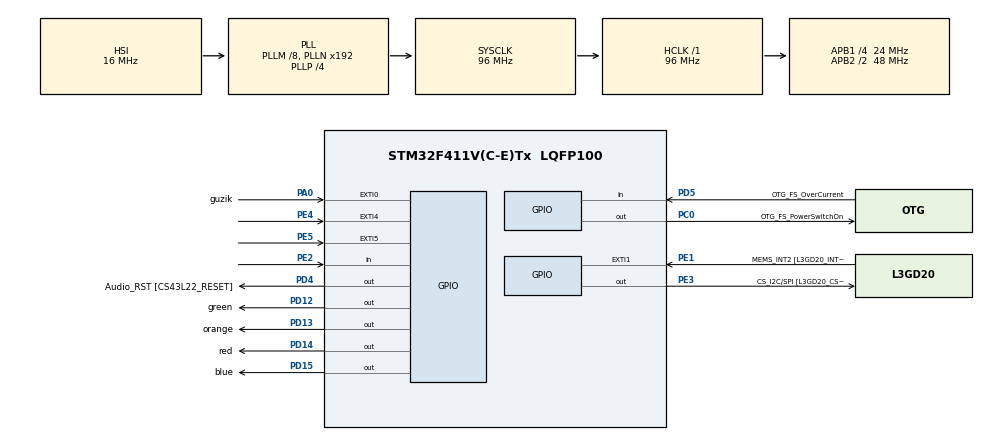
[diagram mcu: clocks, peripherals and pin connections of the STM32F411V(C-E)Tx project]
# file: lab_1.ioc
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Mcu.Family=STM32F4
Mcu.Name=STM32F411V(C-E)Tx
Mcu.Package=LQFP100
NVIC.EXTI0_IRQn=true\:0\:0\:false\:false\:true\:true\:true\:true
NVIC.PriorityGroup=NVIC_PRIORITYGROUP_0
PA0-WKUP.GPIO_Label=guzik
PA0-WKUP.Signal=GPXTI0
PA10.GPIO_Label=OTG_FS_ID
PA10.Signal=USB_OTG_FS_ID
PA11.GPIO_Label=OTG_FS_DM
PA11.Signal=USB_OTG_FS_DM
PA12.GPIO_Label=OTG_FS_DP
PA12.Signal=USB_OTG_FS_DP
PA13.GPIO_Label=SWDIO
PA13.Signal=SYS_JTMS-SWDIO
PA14.GPIO_Label=SWCLK
PA14.Signal=SYS_JTCK-SWCLK
PA4.GPIO_Label=I2S3_WS [CS43L22_LRCK]
PA4.GPIO_Mode=GPIO_MODE_AF_PP
PA4.GPIO_PuPd=GPIO_NOPULL
PA4.GPIO_Speed=GPIO_SPEED_FREQ_LOW
PA4.Signal=I2S3_WS
PA5.GPIO_Label=SPI1_SCK [L3GD20_SC/SPC]
PA5.Signal=SPI1_SCK
PA6.GPIO_Label=SPI1_MISO [L3GD20_AS0/SDO]
PA6.Signal=SPI1_MISO
PA7.GPIO_Label=SPI1_MOSI [L3GD20_SDA/SDI/SDO]
PA7.Signal=SPI1_MOSI
PA9.GPIO_Label=VBUS_FS
PA9.Signal=USB_OTG_FS_VBUS
PB10.GPIO_Label=CLK_IN [MP45DT02_CLK]
PB10.Signal=I2S2_CK
PB12.Signal=I2S2_WS
PB3.GPIO_Label=SWO
PB3.Signal=SYS_JTDO-SWO
PB6.GPIO_Label=Audio_SCL [CS43L22_SCL]
PB6.GPIO_Mode=GPIO_MODE_AF_OD
PB6.GPIO_PuPd=GPIO_NOPULL
PB6.GPIO_Speed=GPIO_SPEED_FREQ_LOW
PB6.Signal=I2C1_SCL
PB9.GPIO_Label=Audio_SDA [CS43L22_SDA]
PB9.GPIO_Mode=GPIO_MODE_AF_OD
PB9.GPIO_PuPd=GPIO_NOPULL
PB9.GPIO_Speed=GPIO_SPEED_FREQ_LOW
PB9.Signal=I2C1_SDA
PC0.GPIO_Label=OTG_FS_PowerSwitchOn
PC0.PinState=GPIO_PIN_SET
PC0.Signal=GPIO_Output
PC10.GPIO_Label=I2S3_SCK [CS43L22_SCLK]
PC10.GPIO_Mode=GPIO_MODE_AF_PP
PC10.GPIO_PuPd=GPIO_NOPULL
PC10.GPIO_Speed=GPIO_SPEED_FREQ_LOW
PC10.Signal=I2S3_CK
PC12.GPIO_Label=I2S3_SD [CS43L22_SDIN]
PC12.GPIO_Mode=GPIO_MODE_AF_PP
PC12.GPIO_PuPd=GPIO_NOPULL
PC12.GPIO_Speed=GPIO_SPEED_FREQ_LOW
PC12.Signal=I2S3_SD
PC14-OSC32_IN.GPIO_Label=PC14-OSC32_IN
PC14-OSC32_IN.Signal=RCC_OSC32_IN
PC15-OSC32_OUT.GPIO_Label=PC15-OSC32_OUT
PC15-OSC32_OUT.Signal=RCC_OSC32_OUT
PC3.GPIO_Label=PDM_OUT [MP45DT02_DOUT]
PC3.Signal=I2S2_SD
PC7.GPIO_Label=I2S3_MCK [CS43L22_MCLK]
PC7.GPIO_Mode=GPIO_MODE_AF_PP
PC7.GPIO_PuPd=GPIO_NOPULL
PC7.GPIO_Speed=GPIO_SPEED_FREQ_LOW
PC7.Signal=I2S3_MCK
PD12.GPIO_Label=green
PD12.GPIO_PuPd=GPIO_NOPULL
PD12.GPIO_Speed=GPIO_SPEED_FREQ_LOW
PD12.Signal=GPIO_Output
PD13.GPIO_Label=orange
PD13.GPIO_PuPd=GPIO_NOPULL
PD13.GPIO_Speed=GPIO_SPEED_FREQ_LOW
PD13.Signal=GPIO_Output
PD14.GPIO_Label=red
PD14.GPIO_PuPd=GPIO_NOPULL
PD14.GPIO_Speed=GPIO_SPEED_FREQ_LOW
PD14.Signal=GPIO_Output
PD15.GPIO_Label=blue
PD15.Signal=GPIO_Output
PD4.GPIO_Label=Audio_RST [CS43L22_RESET]
PD4.Signal=GPIO_Output
PD5.GPIO_Label=OTG_FS_OverCurrent
PD5.Signal=GPIO_Input
PE1.GPIO_Label=MEMS_INT2 [L3GD20_INT2]
PE1.GPIO_ModeDefaultEXTI=GPIO_MODE_EVT_RISING
PE1.Signal=GPXTI1
PE2.Signal=GPIO_Input
PE3.GPIO_Label=CS_I2C/SPI [L3GD20_CS_I2C/SPI]
PE3.Signal=GPIO_Output
PE4.GPIO_ModeDefaultEXTI=GPIO_MODE_EVT_RISING
PE4.Signal=GPXTI4
PE5.GPIO_ModeDefaultEXTI=GPIO_MODE_EVT_RISING
PE5.Signal=GPXTI5
PH0\ -\ OSC_IN.GPIO_Label=PH0-OSC_IN
PH0\ -\ OSC_IN.Signal=RCC_OSC_IN
PH1\ -\ OSC_OUT.GPIO_Label=PH1-OSC_OUT
PH1\ -\ OSC_OUT.Signal=RCC_OSC_OUT
ProjectManager.HeapSize=0x200
ProjectManager.StackSize=0x400
ProjectManager.TargetToolchain=STM32CubeIDE
RCC.48MHZClocksFreq_Value=48000000
RCC.AHBFreq_Value=96000000
RCC.APB1CLKDivider=RCC_HCLK_DIV4
RCC.APB1Freq_Value=24000000
RCC.APB1TimFreq_Value=48000000
RCC.APB2CLKDivider=RCC_HCLK_DIV2
RCC.APB2Freq_Value=48000000
RCC.APB2TimFreq_Value=96000000
RCC.CortexFreq_Value=96000000
RCC.HCLKFreq_Value=96000000
RCC.HSE_VALUE=8000000
RCC.HSI_VALUE=16000000
RCC.LSE_VALUE=32768
RCC.PLLI2SM=5
RCC.PLLI2SN=200
RCC.PLLM=8
RCC.PLLP=RCC_PLLP_DIV4
RCC.PLLQ=8
RCC.SYSCLKFreq_VALUE=96000000
RCC.SYSCLKSource=RCC_SYSCLKSOURCE_PLLCLK
RCC.VCOOutputFreq_Value=384000000
board=STM32F411E-DISCO

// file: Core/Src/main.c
/* USER CODE BEGIN Header */
/**
  ******************************************************************************
  * @file           : main.c
  * @brief          : Main program body
  ******************************************************************************
  * @attention
  *
  * Copyright (c) 2023 STMicroelectronics.
  * All rights reserved.
  *
  * This software is licensed under terms that can be found in the LICENSE file
  * in the root directory of this software component.
  * If no LICENSE file comes with this software, it is provided AS-IS.
  *
  ******************************************************************************
  */
/* USER CODE END Header */
#include "main.h"

void SystemClock_Config(void);
static void MX_GPIO_Init(void);

/* USER CODE BEGIN 0 */
extern void initialise_monitor_handles(void);
int count = 0;
/* USER CODE END 0 */

int main(void)
{

  /* MCU Configuration--------------------------------------------------------*/

  /* Reset of all peripherals, Initializes the Flash interface and the Systick. */
  HAL_Init();

  /* Configure the system clock */
  SystemClock_Config();

  /* Initialize all configured peripherals */
  MX_GPIO_Init();
  /* USER CODE BEGIN 2 */
  	  initialise_monitor_handles();

  	GPIO_TypeDef* ledy_port[] = {blue_GPIO_Port,red_GPIO_Port,orange_GPIO_Port,green_GPIO_Port};
  	uint16_t ledy_pin[] = {blue_Pin,red_Pin,orange_Pin,green_Pin};
  /* USER CODE END 2 */

  /* Infinite loop */
  while (1)
  {

    /* USER CODE BEGIN 3 */

	  switch(count){
	  	  case 0:
	  		  for(int i=0; i<4; i++){
	  			  HAL_GPIO_WritePin(ledy_port[i], ledy_pin[i], GPIO_PIN_RESET);
	  		  }
	  		  break;
	  	  case 1:
	  		HAL_GPIO_WritePin(ledy_port[0], ledy_pin[0], GPIO_PIN_SET);
	  		break;
	  	  case 2:
	  		HAL_GPIO_WritePin(ledy_port[0], ledy_pin[0], GPIO_PIN_RESET);
	  		HAL_GPIO_WritePin(ledy_port[1], ledy_pin[1], GPIO_PIN_SET);
	  		break;
	  	  case 3:
	  		HAL_GPIO_WritePin(ledy_port[0], ledy_pin[0], GPIO_PIN_SET);
	  		break;
	  	  case 4:
	  		HAL_GPIO_WritePin(ledy_port[0], ledy_pin[0], GPIO_PIN_RESET);
	  		HAL_GPIO_WritePin(ledy_port[1], ledy_pin[1], GPIO_PIN_RESET);
	  		HAL_GPIO_WritePin(ledy_port[2], ledy_pin[2], GPIO_PIN_SET);
	  		break;
	  	case 5:
	  		HAL_GPIO_WritePin(ledy_port[0], ledy_pin[0], GPIO_PIN_SET);
	  		HAL_GPIO_WritePin(ledy_port[2], ledy_pin[2], GPIO_PIN_SET);
	  		break;
	  	case 6:
	  		HAL_GPIO_WritePin(ledy_port[0], ledy_pin[0], GPIO_PIN_RESET);
	  		HAL_GPIO_WritePin(ledy_port[1], ledy_pin[1], GPIO_PIN_SET);
	  		break;
	  	case 7:
	  		HAL_GPIO_WritePin(ledy_port[0], ledy_pin[0], GPIO_PIN_SET);
	  		break;
	  	case 8:
	  		HAL_GPIO_WritePin(ledy_port[0], ledy_pin[0], GPIO_PIN_RESET);
	  		HAL_GPIO_WritePin(ledy_port[1], ledy_pin[1], GPIO_PIN_RESET);
	  		HAL_GPIO_WritePin(ledy_port[2], ledy_pin[2], GPIO_PIN_RESET);
	  		HAL_GPIO_WritePin(ledy_port[3], ledy_pin[3], GPIO_PIN_SET);
	  		break;
	  	case 9:
	  		HAL_GPIO_WritePin(ledy_port[0], ledy_pin[0], GPIO_PIN_SET);
	  		break;
	  	case 10:
	  		HAL_GPIO_WritePin(ledy_port[0], ledy_pin[0], GPIO_PIN_RESET);
	  		HAL_GPIO_WritePin(ledy_port[1], ledy_pin[1], GPIO_PIN_SET);
	  		break;
	  	case 11:
	  		HAL_GPIO_WritePin(ledy_port[0], ledy_pin[0], GPIO_PIN_SET);
	  		break;
	  	case 12:
	  		HAL_GPIO_WritePin(ledy_port[0], ledy_pin[0], GPIO_PIN_RESET);
	  		HAL_GPIO_WritePin(ledy_port[1], ledy_pin[1], GPIO_PIN_RESET);
	  		HAL_GPIO_WritePin(ledy_port[2], ledy_pin[2], GPIO_PIN_SET);
	  		break;
	  	case 13:
	  		HAL_GPIO_WritePin(ledy_port[0], ledy_pin[0], GPIO_PIN_SET);
	  		break;
	  	case 14:
	  		HAL_GPIO_WritePin(ledy_port[0], ledy_pin[0], GPIO_PIN_RESET);
	  		HAL_GPIO_WritePin(ledy_port[1], ledy_pin[1], GPIO_PIN_SET);
	  		break;
	  	case 15:
	  		HAL_GPIO_WritePin(ledy_port[0], ledy_pin[0], GPIO_PIN_SET);
	  		break;
	  }

	  HAL_Delay(1000);
	  //zad3
	  printf("test: %d\n",count);
	  count++;
	  if(count > 15){
		  count = 0;
	  }
  }
  /* USER CODE END 3 */
}

void SystemClock_Config(void)
{
  RCC_OscInitTypeDef RCC_OscInitStruct = {0};
  RCC_ClkInitTypeDef RCC_ClkInitStruct = {0};

  /** Configure the main internal regulator output voltage
  */
  __HAL_RCC_PWR_CLK_ENABLE();
  __HAL_PWR_VOLTAGESCALING_CONFIG(PWR_REGULATOR_VOLTAGE_SCALE1);

  /** Initializes the RCC Oscillators according to the specified parameters
  * in the RCC_OscInitTypeDef structure.
  */
  RCC_OscInitStruct.OscillatorType = RCC_OSCILLATORTYPE_HSI;
  RCC_OscInitStruct.HSIState = RCC_HSI_ON;
  RCC_OscInitStruct.HSICalibrationValue = RCC_HSICALIBRATION_DEFAULT;
  RCC_OscInitStruct.PLL.PLLState = RCC_PLL_ON;
  RCC_OscInitStruct.PLL.PLLSource = RCC_PLLSOURCE_HSI;
  RCC_OscInitStruct.PLL.PLLM = 8;
  RCC_OscInitStruct.PLL.PLLN = 192;
  RCC_OscInitStruct.PLL.PLLP = RCC_PLLP_DIV4;
  RCC_OscInitStruct.PLL.PLLQ = 8;
  if (HAL_RCC_OscConfig(&RCC_OscInitStruct) != HAL_OK)
  {
    Error_Handler();
  }

  /** Initializes the CPU, AHB and APB buses clocks
  */
  RCC_ClkInitStruct.ClockType = RCC_CLOCKTYPE_HCLK|RCC_CLOCKTYPE_SYSCLK
                              |RCC_CLOCKTYPE_PCLK1|RCC_CLOCKTYPE_PCLK2;
  RCC_ClkInitStruct.SYSCLKSource = RCC_SYSCLKSOURCE_PLLCLK;
  RCC_ClkInitStruct.AHBCLKDivider = RCC_SYSCLK_DIV1;
  RCC_ClkInitStruct.APB1CLKDivider = RCC_HCLK_DIV4;
  RCC_ClkInitStruct.APB2CLKDivider = RCC_HCLK_DIV2;

  if (HAL_RCC_ClockConfig(&RCC_ClkInitStruct, FLASH_LATENCY_3) != HAL_OK)
  {
    Error_Handler();
  }
}

static void MX_GPIO_Init(void)
{
  GPIO_InitTypeDef GPIO_InitStruct = {0};

  /* GPIO Ports Clock Enable */
  __HAL_RCC_GPIOE_CLK_ENABLE();
  __HAL_RCC_GPIOC_CLK_ENABLE();
  __HAL_RCC_GPIOH_CLK_ENABLE();
  __HAL_RCC_GPIOA_CLK_ENABLE();
  __HAL_RCC_GPIOB_CLK_ENABLE();
  __HAL_RCC_GPIOD_CLK_ENABLE();

  /*Configure GPIO pin Output Level */
  HAL_GPIO_WritePin(CS_I2C_SPI_GPIO_Port, CS_I2C_SPI_Pin, GPIO_PIN_RESET);

  /*Configure GPIO pin Output Level */
  HAL_GPIO_WritePin(OTG_FS_PowerSwitchOn_GPIO_Port, OTG_FS_PowerSwitchOn_Pin, GPIO_PIN_SET);

  /*Configure GPIO pin Output Level */
  HAL_GPIO_WritePin(GPIOD, green_Pin|orange_Pin|red_Pin|blue_Pin
                          |Audio_RST_Pin, GPIO_PIN_RESET);

  /*Configure GPIO pin : PE2 */
  GPIO_InitStruct.Pin = GPIO_PIN_2;
  GPIO_InitStruct.Mode = GPIO_MODE_INPUT;
  GPIO_InitStruct.Pull = GPIO_NOPULL;
  HAL_GPIO_Init(GPIOE, &GPIO_InitStruct);

  /*Configure GPIO pin : CS_I2C_SPI_Pin */
  GPIO_InitStruct.Pin = CS_I2C_SPI_Pin;
  GPIO_InitStruct.Mode = GPIO_MODE_OUTPUT_PP;
  GPIO_InitStruct.Pull = GPIO_NOPULL;
  GPIO_InitStruct.Speed = GPIO_SPEED_FREQ_LOW;
  HAL_GPIO_Init(CS_I2C_SPI_GPIO_Port, &GPIO_InitStruct);

  /*Configure GPIO pins : PE4 PE5 MEMS_INT2_Pin */
  GPIO_InitStruct.Pin = GPIO_PIN_4|GPIO_PIN_5|MEMS_INT2_Pin;
  GPIO_InitStruct.Mode = GPIO_MODE_EVT_RISING;
  GPIO_InitStruct.Pull = GPIO_NOPULL;
  HAL_GPIO_Init(GPIOE, &GPIO_InitStruct);

  /*Configure GPIO pin : OTG_FS_PowerSwitchOn_Pin */
  GPIO_InitStruct.Pin = OTG_FS_PowerSwitchOn_Pin;
  GPIO_InitStruct.Mode = GPIO_MODE_OUTPUT_PP;
  GPIO_InitStruct.Pull = GPIO_NOPULL;
  GPIO_InitStruct.Speed = GPIO_SPEED_FREQ_LOW;
  HAL_GPIO_Init(OTG_FS_PowerSwitchOn_GPIO_Port, &GPIO_InitStruct);

  /*Configure GPIO pin : PDM_OUT_Pin */
  GPIO_InitStruct.Pin = PDM_OUT_Pin;
  GPIO_InitStruct.Mode = GPIO_MODE_AF_PP;
  GPIO_InitStruct.Pull = GPIO_NOPULL;
  GPIO_InitStruct.Speed = GPIO_SPEED_FREQ_LOW;
  GPIO_InitStruct.Alternate = GPIO_AF5_SPI2;
  HAL_GPIO_Init(PDM_OUT_GPIO_Port, &GPIO_InitStruct);

  /*Configure GPIO pin : guzik_Pin */
  GPIO_InitStruct.Pin = guzik_Pin;
  GPIO_InitStruct.Mode = GPIO_MODE_IT_RISING;
  GPIO_InitStruct.Pull = GPIO_NOPULL;
  HAL_GPIO_Init(guzik_GPIO_Port, &GPIO_InitStruct);

  /*Configure GPIO pin : I2S3_WS_Pin */
  GPIO_InitStruct.Pin = I2S3_WS_Pin;
  GPIO_InitStruct.Mode = GPIO_MODE_AF_PP;
  GPIO_InitStruct.Pull = GPIO_NOPULL;
  GPIO_InitStruct.Speed = GPIO_SPEED_FREQ_LOW;
  GPIO_InitStruct.Alternate = GPIO_AF6_SPI3;
  HAL_GPIO_Init(I2S3_WS_GPIO_Port, &GPIO_InitStruct);

  /*Configure GPIO pins : SPI1_SCK_Pin SPI1_MISO_Pin SPI1_MOSI_Pin */
  GPIO_InitStruct.Pin = SPI1_SCK_Pin|SPI1_MISO_Pin|SPI1_MOSI_Pin;
  GPIO_InitStruct.Mode = GPIO_MODE_AF_PP;
  GPIO_InitStruct.Pull = GPIO_NOPULL;
  GPIO_InitStruct.Speed = GPIO_SPEED_FREQ_VERY_HIGH;
  GPIO_InitStruct.Alternate = GPIO_AF5_SPI1;
  HAL_GPIO_Init(GPIOA, &GPIO_InitStruct);

  /*Configure GPIO pins : CLK_IN_Pin PB12 */
  GPIO_InitStruct.Pin = CLK_IN_Pin|GPIO_PIN_12;
  GPIO_InitStruct.Mode = GPIO_MODE_AF_PP;
  GPIO_InitStruct.Pull = GPIO_NOPULL;
  GPIO_InitStruct.Speed = GPIO_SPEED_FREQ_LOW;
  GPIO_InitStruct.Alternate = GPIO_AF5_SPI2;
  HAL_GPIO_Init(GPIOB, &GPIO_InitStruct);

  /*Configure GPIO pins : green_Pin orange_Pin red_Pin blue_Pin
                           Audio_RST_Pin */
  GPIO_InitStruct.Pin = green_Pin|orange_Pin|red_Pin|blue_Pin
                          |Audio_RST_Pin;
  GPIO_InitStruct.Mode = GPIO_MODE_OUTPUT_PP;
  GPIO_InitStruct.Pull = GPIO_NOPULL;
  GPIO_InitStruct.Speed = GPIO_SPEED_FREQ_LOW;
  HAL_GPIO_Init(GPIOD, &GPIO_InitStruct);

  /*Configure GPIO pins : I2S3_MCK_Pin I2S3_SCK_Pin I2S3_SD_Pin */
  GPIO_InitStruct.Pin = I2S3_MCK_Pin|I2S3_SCK_Pin|I2S3_SD_Pin;
  GPIO_InitStruct.Mode = GPIO_MODE_AF_PP;
  GPIO_InitStruct.Pull = GPIO_NOPULL;
  GPIO_InitStruct.Speed = GPIO_SPEED_FREQ_LOW;
  GPIO_InitStruct.Alternate = GPIO_AF6_SPI3;
  HAL_GPIO_Init(GPIOC, &GPIO_InitStruct);

  /*Configure GPIO pin : VBUS_FS_Pin */
  GPIO_InitStruct.Pin = VBUS_FS_Pin;
  GPIO_InitStruct.Mode = GPIO_MODE_INPUT;
  GPIO_InitStruct.Pull = GPIO_NOPULL;
  HAL_GPIO_Init(VBUS_FS_GPIO_Port, &GPIO_InitStruct);

  /*Configure GPIO pins : OTG_FS_ID_Pin OTG_FS_DM_Pin OTG_FS_DP_Pin */
  GPIO_InitStruct.Pin = OTG_FS_ID_Pin|OTG_FS_DM_Pin|OTG_FS_DP_Pin;
  GPIO_InitStruct.Mode = GPIO_MODE_AF_PP;
  GPIO_InitStruct.Pull = GPIO_NOPULL;
  GPIO_InitStruct.Speed = GPIO_SPEED_FREQ_VERY_HIGH;
  GPIO_InitStruct.Alternate = GPIO_AF10_OTG_FS;
  HAL_GPIO_Init(GPIOA, &GPIO_InitStruct);

  /*Configure GPIO pin : OTG_FS_OverCurrent_Pin */
  GPIO_InitStruct.Pin = OTG_FS_OverCurrent_Pin;
  GPIO_InitStruct.Mode = GPIO_MODE_INPUT;
  GPIO_InitStruct.Pull = GPIO_NOPULL;
  HAL_GPIO_Init(OTG_FS_OverCurrent_GPIO_Port, &GPIO_InitStruct);

  /*Configure GPIO pins : Audio_SCL_Pin Audio_SDA_Pin */
  GPIO_InitStruct.Pin = Audio_SCL_Pin|Audio_SDA_Pin;
  GPIO_InitStruct.Mode = GPIO_MODE_AF_OD;
  GPIO_InitStruct.Pull = GPIO_NOPULL;
  GPIO_InitStruct.Speed = GPIO_SPEED_FREQ_LOW;
  GPIO_InitStruct.Alternate = GPIO_AF4_I2C1;
  HAL_GPIO_Init(GPIOB, &GPIO_InitStruct);

  /* EXTI interrupt init*/
  HAL_NVIC_SetPriority(EXTI0_IRQn, 0, 0);
  HAL_NVIC_EnableIRQ(EXTI0_IRQn);

}

void Error_Handler(void)
{
  __disable_irq();
  while (1)
  {
  }
}
